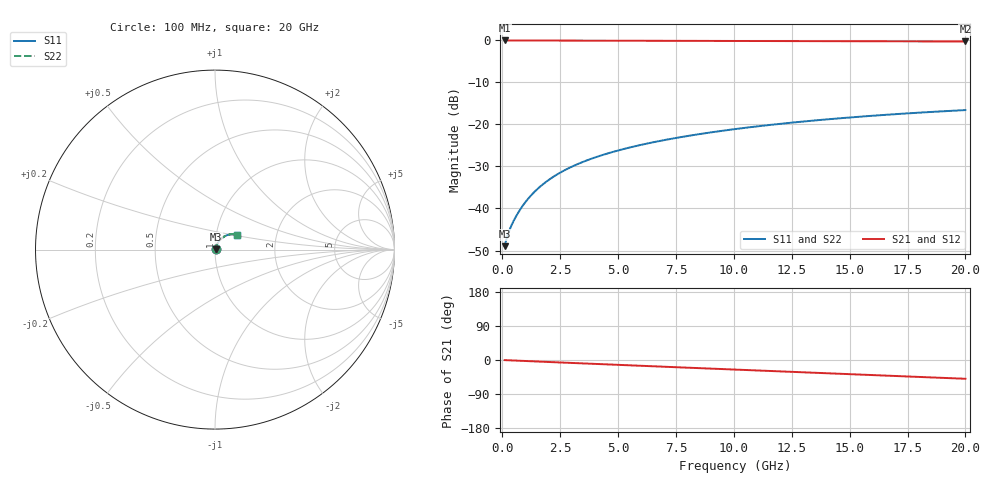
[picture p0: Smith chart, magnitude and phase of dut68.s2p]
! Touchstone file exported from HFSS 2026.1.0
!  File:  C:/ffzhzh/LocalFiles/Ansys_Project_Files/temp_train_TMRDL_68_1782881138_46784.aedt
!  Generated:  12:46:55 PM Jul  1, 2026
!  Design:  TMRDL
!  Project:  temp_train_TMRDL_68_1782881138_46784
! Variables:
!  h_bsmrdl = 2um
!  h_ox = 20um
!  h_rdl = 5um
!  h_sub = 80um
!  h_tmrdl = 5.67um
!  h_tsv = 80um
!  h_via = 3um
!  l_bsmrdl = 300um
!  l_sub = 1285.69um
!  l_tmrdl = 885.69um
!  m_sub = 200um
!  pitch = 27um
!  r_tsv = 6um
!  s_tmrdl = 10um
!  w_bsmrdl = 18um
!  w_sub = 500um
!  w_tmrdl = 18.58um
!  x_tsv_center1 = 894.98um
!  x_tsv_center2 = 1212.98um
!  x_tsv_center3 = 2117.25um
!  x_tsv_center4 = 2435.25um
!  x_tsv_center5 = 3339.52um
!  x_tsv_center6 = 3657.52um
# GHz S MA R 50.000000
! Terminal data exported
! Port[1] = TM_RDL1_1_T1
! Port[2] = TM_RDL1_1_T2
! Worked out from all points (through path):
!   200 points, 100 MHz to 20 GHz, reference 50 ohm
!   highest |S21| = -0.03 dB at 100 MHz (marker M1); lowest = -0.3 dB at 20 GHz (marker M2)
!   group delay of S21, straight-line fit = 6.85 ps
!   lowest |S11| = -49.0 dB at 100 MHz (marker M3), VSWR 1.01, Z = 50.3 + j0.153 ohm
!   |S11| at or under -10 dB: start of sweep to end of sweep
!   |S22| runs from -49.0 to -16.6 dB; largest |S21 - S12| = 2.5e-14
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0.1  0.003564 25.3  0.9968 -0.3  0.9968 -0.3  0.003564 25.3
! Gamma 0 0 0 0
! Port Impedance 50 0 50 0
0.2  0.004531 37.5  0.9964 -0.6  0.9964 -0.6  0.004531 37.5
0.3  0.005455 44.3  0.9962 -0.8  0.9962 -0.8  0.005455 44.3
0.4  0.006336 49.3  0.996 -1.1  0.996 -1.1  0.006336 49.3
0.5  0.007219 53.3  0.9958 -1.3  0.9958 -1.3  0.007219 53.3
0.7  0.009046 59.1  0.9956 -1.9  0.9956 -1.9  0.009046 59.1
0.9  0.01095 62.9  0.9954 -2.4  0.9954 -2.4  0.01095 62.9
1.1  0.01291 65.5  0.9952 -2.9  0.9952 -2.9  0.01291 65.5
1.3  0.01489 67.1  0.995 -3.4  0.995 -3.4  0.01489 67.1
1.7  0.01887 68.8  0.9944 -4.5  0.9944 -4.5  0.01887 68.8
2.2  0.02379 69.5  0.9937 -5.7  0.9937 -5.7  0.02379 69.5
2.8  0.02953 69.2  0.9927 -7.3  0.9927 -7.3  0.02953 69.2
3.5  0.03598 68.2  0.9914 -9.1  0.9914 -9.1  0.03598 68.2
4.2  0.04217 67.0  0.9902 -10.8  0.9902 -10.8  0.04217 67.0
5  0.04899 65.5  0.9888 -12.8  0.9888 -12.8  0.04899 65.5
5.9  0.05639 63.7  0.9874 -15.1  0.9874 -15.1  0.05639 63.7
6.8  0.06356 61.9  0.986 -17.3  0.986 -17.3  0.06356 61.9
8.3  0.07511 58.9  0.9839 -21.0  0.9839 -21.0  0.07511 58.9
10.1  0.08836 55.2  0.9814 -25.4  0.9814 -25.4  0.08835 55.2
13.4  0.1109 48.1  0.9771 -33.5  0.9771 -33.5  0.1109 48.1
16.7  0.1309 40.8  0.973 -41.5  0.973 -41.5  0.1309 40.8
20  0.1481 33.5  0.9692 -49.5  0.9692 -49.5  0.1481 33.5
